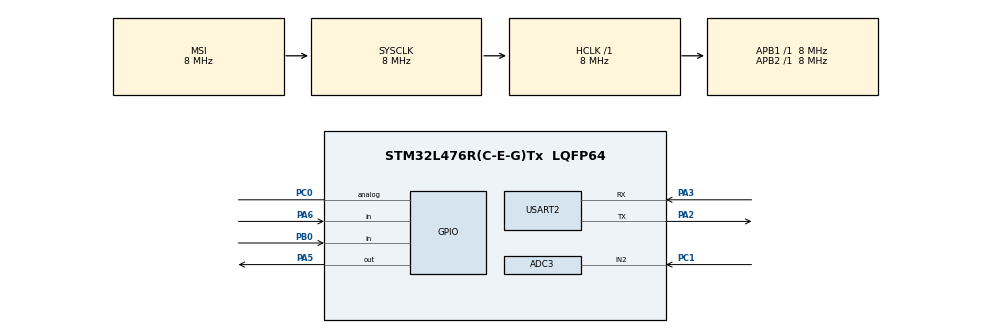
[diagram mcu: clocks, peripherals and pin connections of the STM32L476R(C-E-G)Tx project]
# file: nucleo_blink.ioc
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ADC3.Channel-1\#ChannelRegularConversion=ADC_CHANNEL_2
ADC3.ClockPrescaler=ADC_CLOCK_ASYNC_DIV8
ADC3.ContinuousConvMode=ENABLE
ADC3.NbrOfConversionFlag=1
ADC3.OffsetNumber-1\#ChannelRegularConversion=ADC_OFFSET_NONE
ADC3.Rank-1\#ChannelRegularConversion=1
ADC3.SamplingTime-1\#ChannelRegularConversion=ADC_SAMPLETIME_2CYCLES_5
Mcu.Family=STM32L4
Mcu.Name=STM32L476R(C-E-G)Tx
Mcu.Package=LQFP64
NVIC.ADC3_IRQn=true\:0\:0\:false\:false\:true\:true\:true\:true
NVIC.PriorityGroup=NVIC_PRIORITYGROUP_4
PA2.Mode=Asynchronous
PA2.Signal=USART2_TX
PA3.Mode=Asynchronous
PA3.Signal=USART2_RX
PA5.Signal=GPIO_Output
PA6.Signal=GPIO_Input
PB0.Signal=GPIO_Input
PC0.Signal=GPIO_Analog
PC1.Signal=ADCx_IN2
ProjectManager.HeapSize=0x200
ProjectManager.StackSize=0x400
ProjectManager.TargetToolchain=STM32CubeIDE
RCC.ADCFreq_Value=32000000
RCC.AHBFreq_Value=8000000
RCC.APB1Freq_Value=8000000
RCC.APB1TimFreq_Value=8000000
RCC.APB2Freq_Value=8000000
RCC.APB2TimFreq_Value=8000000
RCC.CortexFreq_Value=8000000
RCC.HCLKFreq_Value=8000000
RCC.HSE_VALUE=8000000
RCC.HSI_VALUE=16000000
RCC.LSE_VALUE=32768
RCC.MSIClockRange=RCC_MSIRANGE_7
RCC.MSI_VALUE=8000000
RCC.SYSCLKFreq_VALUE=8000000
RCC.USBFreq_Value=32000000
RCC.VCOOutputFreq_Value=64000000
SH.ADCx_IN2.0=ADC3_IN2,IN2-Single-Ended
USART2.VirtualMode-Asynchronous=VM_ASYNC
board=custom

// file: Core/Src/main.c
/* USER CODE BEGIN Header */
/**
 ******************************************************************************
 * @file           : main.c
 * @brief          : Main program body
 ******************************************************************************
 * @attention
 *
 * Copyright (c) 2023 STMicroelectronics.
 * All rights reserved.
 *
 * This software is licensed under terms that can be found in the LICENSE file
 * in the root directory of this software component.
 * If no LICENSE file comes with this software, it is provided AS-IS.
 *
 ******************************************************************************
 */
/* USER CODE END Header */
#include "main.h"

/* USER CODE BEGIN Includes */
#include <string.h>
#include <stdio.h>
/* USER CODE END Includes */

ADC_HandleTypeDef hadc3;

UART_HandleTypeDef huart2;

/* USER CODE BEGIN PV */
uint16_t readVal_ADC;
char msg[16];
uint16_t readVal_In;
uint16_t readVal_Analog;
/* USER CODE END PV */

void SystemClock_Config(void);
static void MX_GPIO_Init(void);
static void MX_USART2_UART_Init(void);
static void MX_ADC3_Init(void);
/* USER CODE BEGIN PFP */
void HAL_ADC_ConvCpltCallback(ADC_HandleTypeDef* hadc)
{
	readVal_ADC = HAL_ADC_GetValue(&hadc3);
	sprintf(msg, "%hu\r\n", readVal_ADC);
	HAL_UART_Transmit(&huart2, (uint8_t*) msg, sizeof(msg), 10);
	if (readVal_ADC > 500) {
		HAL_GPIO_WritePin(GPIOA, GPIO_PIN_5, GPIO_PIN_SET);
	} else {
		HAL_GPIO_WritePin(GPIOA, GPIO_PIN_5, GPIO_PIN_RESET);
	}
}
/* USER CODE END PFP */

int main(void) {
	/* USER CODE BEGIN 1 */

	//char msg[16];
	/* USER CODE END 1 */

	/* MCU Configuration--------------------------------------------------------*/

	/* Reset of all peripherals, Initializes the Flash interface and the Systick. */
	HAL_Init();

	/* Configure the system clock */
	SystemClock_Config();

	/* Initialize all configured peripherals */
	MX_GPIO_Init();
	MX_USART2_UART_Init();
	MX_ADC3_Init();
	/* USER CODE BEGIN 2 */
	HAL_ADC_Start_IT(&hadc3);
	/* USER CODE END 2 */

	/* Infinite loop */
	/* USER CODE BEGIN WHILE */
	while (1) {

		/*readVal_In = HAL_GPIO_ReadPin(GPIOB, 0);
		sprintf(msg, "%hu\r\n", readVal_In);
		HAL_UART_Transmit(&huart2, (uint8_t *)msg, sizeof(msg), 10);
		HAL_Delay(100);

		readVal_Analog = HAL_GPIO_ReadPin(GPIOC, 0);
		sprintf(msg, "%hu\r\n", readVal_Analog);
		HAL_UART_Transmit(&huart2, (uint8_t *)msg, sizeof(msg), 10);
		HAL_Delay(100);*/

		/* USER CODE END WHILE */

	}
}

void SystemClock_Config(void) {
	RCC_OscInitTypeDef RCC_OscInitStruct = { 0 };
	RCC_ClkInitTypeDef RCC_ClkInitStruct = { 0 };

	/** Configure the main internal regulator output voltage
	 */
	if (HAL_PWREx_ControlVoltageScaling(PWR_REGULATOR_VOLTAGE_SCALE1)
			!= HAL_OK) {
		Error_Handler();
	}

	/** Initializes the RCC Oscillators according to the specified parameters
	 * in the RCC_OscInitTypeDef structure.
	 */
	RCC_OscInitStruct.OscillatorType = RCC_OSCILLATORTYPE_MSI;
	RCC_OscInitStruct.MSIState = RCC_MSI_ON;
	RCC_OscInitStruct.MSICalibrationValue = 0;
	RCC_OscInitStruct.MSIClockRange = RCC_MSIRANGE_7;
	RCC_OscInitStruct.PLL.PLLState = RCC_PLL_NONE;
	if (HAL_RCC_OscConfig(&RCC_OscInitStruct) != HAL_OK) {
		Error_Handler();
	}

	/** Initializes the CPU, AHB and APB buses clocks
	 */
	RCC_ClkInitStruct.ClockType = RCC_CLOCKTYPE_HCLK | RCC_CLOCKTYPE_SYSCLK
			| RCC_CLOCKTYPE_PCLK1 | RCC_CLOCKTYPE_PCLK2;
	RCC_ClkInitStruct.SYSCLKSource = RCC_SYSCLKSOURCE_MSI;
	RCC_ClkInitStruct.AHBCLKDivider = RCC_SYSCLK_DIV1;
	RCC_ClkInitStruct.APB1CLKDivider = RCC_HCLK_DIV1;
	RCC_ClkInitStruct.APB2CLKDivider = RCC_HCLK_DIV1;

	if (HAL_RCC_ClockConfig(&RCC_ClkInitStruct, FLASH_LATENCY_0) != HAL_OK) {
		Error_Handler();
	}
}

static void MX_ADC3_Init(void) {

	ADC_ChannelConfTypeDef sConfig = { 0 };

	/** Common config
	 */
	hadc3.Instance = ADC3;
	hadc3.Init.ClockPrescaler = ADC_CLOCK_ASYNC_DIV8;
	hadc3.Init.Resolution = ADC_RESOLUTION_12B;
	hadc3.Init.DataAlign = ADC_DATAALIGN_RIGHT;
	hadc3.Init.ScanConvMode = ADC_SCAN_DISABLE;
	hadc3.Init.EOCSelection = ADC_EOC_SINGLE_CONV;
	hadc3.Init.LowPowerAutoWait = DISABLE;
	hadc3.Init.ContinuousConvMode = ENABLE;
	hadc3.Init.NbrOfConversion = 1;
	hadc3.Init.DiscontinuousConvMode = DISABLE;
	hadc3.Init.ExternalTrigConv = ADC_SOFTWARE_START;
	hadc3.Init.ExternalTrigConvEdge = ADC_EXTERNALTRIGCONVEDGE_NONE;
	hadc3.Init.DMAContinuousRequests = DISABLE;
	hadc3.Init.Overrun = ADC_OVR_DATA_PRESERVED;
	hadc3.Init.OversamplingMode = DISABLE;
	if (HAL_ADC_Init(&hadc3) != HAL_OK) {
		Error_Handler();
	}

	/** Configure Regular Channel
	 */
	sConfig.Channel = ADC_CHANNEL_2;
	sConfig.Rank = ADC_REGULAR_RANK_1;
	sConfig.SamplingTime = ADC_SAMPLETIME_2CYCLES_5;
	sConfig.SingleDiff = ADC_SINGLE_ENDED;
	sConfig.OffsetNumber = ADC_OFFSET_NONE;
	sConfig.Offset = 0;
	if (HAL_ADC_ConfigChannel(&hadc3, &sConfig) != HAL_OK) {
		Error_Handler();
	}

}

static void MX_USART2_UART_Init(void) {

	huart2.Instance = USART2;
	huart2.Init.BaudRate = 115200;
	huart2.Init.WordLength = UART_WORDLENGTH_8B;
	huart2.Init.StopBits = UART_STOPBITS_1;
	huart2.Init.Parity = UART_PARITY_NONE;
	huart2.Init.Mode = UART_MODE_TX_RX;
	huart2.Init.HwFlowCtl = UART_HWCONTROL_NONE;
	huart2.Init.OverSampling = UART_OVERSAMPLING_16;
	huart2.Init.OneBitSampling = UART_ONE_BIT_SAMPLE_DISABLE;
	huart2.AdvancedInit.AdvFeatureInit = UART_ADVFEATURE_NO_INIT;
	if (HAL_UART_Init(&huart2) != HAL_OK) {
		Error_Handler();
	}

}

static void MX_GPIO_Init(void) {
	GPIO_InitTypeDef GPIO_InitStruct = { 0 };

	/* GPIO Ports Clock Enable */
	__HAL_RCC_GPIOC_CLK_ENABLE();
	__HAL_RCC_GPIOA_CLK_ENABLE();
	__HAL_RCC_GPIOB_CLK_ENABLE();

	/*Configure GPIO pin Output Level */
	HAL_GPIO_WritePin(GPIOA, GPIO_PIN_5, GPIO_PIN_RESET);

	/*Configure GPIO pin : PC0 */
	GPIO_InitStruct.Pin = GPIO_PIN_0;
	GPIO_InitStruct.Mode = GPIO_MODE_ANALOG;
	GPIO_InitStruct.Pull = GPIO_NOPULL;
	HAL_GPIO_Init(GPIOC, &GPIO_InitStruct);

	/*Configure GPIO pin : PA5 */
	GPIO_InitStruct.Pin = GPIO_PIN_5;
	GPIO_InitStruct.Mode = GPIO_MODE_OUTPUT_PP;
	GPIO_InitStruct.Pull = GPIO_NOPULL;
	GPIO_InitStruct.Speed = GPIO_SPEED_FREQ_LOW;
	HAL_GPIO_Init(GPIOA, &GPIO_InitStruct);

	/*Configure GPIO pin : PA6 */
	GPIO_InitStruct.Pin = GPIO_PIN_6;
	GPIO_InitStruct.Mode = GPIO_MODE_INPUT;
	GPIO_InitStruct.Pull = GPIO_NOPULL;
	HAL_GPIO_Init(GPIOA, &GPIO_InitStruct);

	/*Configure GPIO pin : PB0 */
	GPIO_InitStruct.Pin = GPIO_PIN_0;
	GPIO_InitStruct.Mode = GPIO_MODE_INPUT;
	GPIO_InitStruct.Pull = GPIO_NOPULL;
	HAL_GPIO_Init(GPIOB, &GPIO_InitStruct);

}

void Error_Handler(void) {
	__disable_irq();
	while (1) {
	}
}
